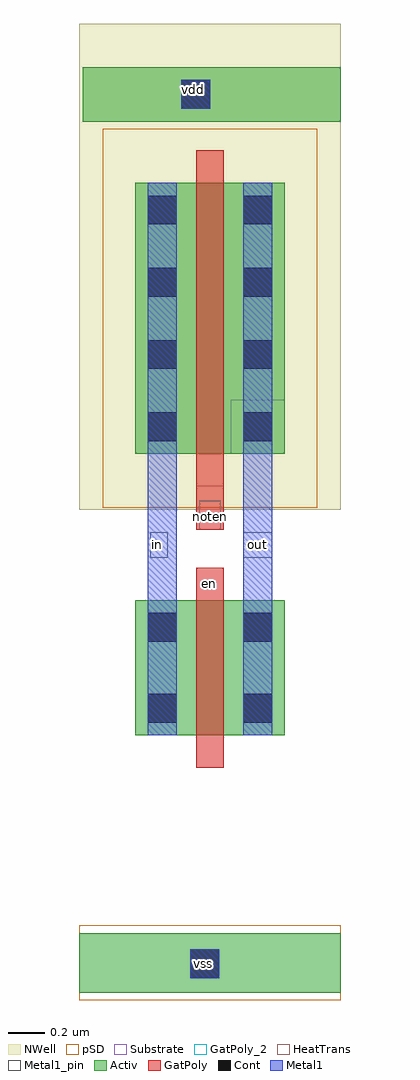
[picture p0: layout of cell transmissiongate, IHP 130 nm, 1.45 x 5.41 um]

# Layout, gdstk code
import gdstk
lib = gdstk.Library(unit=1e-6, precision=5e-09)
def R(c, l, rs):  # rectangles x0, y0, x1, y1
    for r in rs: c.add(gdstk.rectangle(r[:2], r[2:], *l))
def A(c, l, x, y, w, h, nx, ny, dx, dy):  # array of equal rectangles
    R(c, l, [(x+i*dx, y+j*dy, x+i*dx+w, y+j*dy+h) for i in range(nx) for j in range(ny)])
Activ = (1, 0)
GatPoly = (5, 0)
GatPoly_2 = (5, 2)
Cont = (6, 0)
Metal1 = (8, 0)
Metal1_pin = (8, 2)
pSD = (14, 0)
NWell = (31, 0)
Substrate = (40, 0)
HeatTrans = (51, 0)

nmos_5 = lib.new_cell('nmos$5')
R(nmos_5, Activ, [(0,0,0.3,0.3), (0,0,0.83,0.75), (0.53,0,0.83,0.3)])
R(nmos_5, GatPoly, [(0.34,-0.18,0.49,0.93)])
R(nmos_5, GatPoly_2, [(0.34,-0.18,0.49,0.93)])
R(nmos_5, Cont, [(0.07,0.07,0.23,0.23), (0.6,0.07,0.76,0.23), (0.07,0.52,0.23,0.68), (0.6,0.52,0.76,0.68)])
R(nmos_5, Metal1, [(0.07,0,0.23,0.75), (0.6,0,0.76,0.75)])
R(nmos_5, Metal1_pin, [(0.07,0,0.23,0.75), (0.6,0,0.76,0.75)])
R(nmos_5, HeatTrans, [(0.34,-0.18,0.49,0.93)])
nmos_5.add(gdstk.Label('nmos', (0.415,0.375), layer=63, texttype=0))
nmos_5.add(gdstk.Label('nmos', (0.415,0.375), layer=51, texttype=0))

pmos = lib.new_cell('pmos')
R(pmos, Activ, [(0,0,0.3,0.3), (0,0,0.83,1.5), (0.53,0,0.83,0.3)])
R(pmos, GatPoly, [(0.34,-0.18,0.49,1.68), (0.34,-0.18,0.49,1.68)])
A(pmos, Cont, 0.07, 0.07, 0.16, 0.16, 1, 4, 0, 0.4)
A(pmos, Cont, 0.6, 0.07, 0.16, 0.16, 1, 4, 0, 0.4)
R(pmos, Metal1, [(0.07,0,0.23,1.5), (0.07,0,0.23,1.5), (0.6,0,0.76,1.5), (0.6,0,0.76,1.5)])
R(pmos, pSD, [(-0.18,-0.3,1.01,1.8)])
R(pmos, NWell, [(-0.31,-0.31,1.14,1.81)])
R(pmos, Substrate, [(0.53,0,0.83,0.3)])
R(pmos, HeatTrans, [(0.34,-0.18,0.49,1.68)])
pmos.add(gdstk.Label('pmos', (0.415,0.75), layer=63, texttype=0))
pmos.add(gdstk.Label('pmos', (0.415,0.75), layer=51, texttype=0))

transmissiongate = lib.new_cell('transmissiongate')
R(transmissiongate, Activ, [(2.295,-2.62,3.745,-2.29), (2.315,2.205,3.745,2.505)])
R(transmissiongate, GatPoly, [(2.945,-0.055,3.095,0.185)])
R(transmissiongate, GatPoly_2, [(2.98,-0.43,3.09,-0.27), (2.96,-0.055,3.08,0.105)])
R(transmissiongate, Cont, [(2.91,-2.54,3.07,-2.38), (2.86,2.275,3.02,2.435)])
R(transmissiongate, Metal1, [(2.91,-2.54,3.07,-2.38), (2.91,-2.54,3.07,-2.38), (2.675,-0.445,2.835,-0.21), (3.205,-0.445,3.365,-0.21), (2.675,-0.21,2.835,0.365), (3.205,-0.21,3.365,0.365), (2.86,2.275,3.02,2.435)])
R(transmissiongate, Metal1_pin, [(2.91,-2.54,3.07,-2.38), (2.69,-0.21,2.785,-0.07), (3.205,-0.21,3.365,-0.07), (2.86,2.275,3.02,2.435)])
R(transmissiongate, pSD, [(2.295,-2.66,3.745,-2.245)])
R(transmissiongate, NWell, [(2.295,2.175,3.745,2.745)])
transmissiongate.add(gdstk.Reference(nmos_5, (2.605,-1.195)))
transmissiongate.add(gdstk.Reference(pmos, (2.605,0.365)))
transmissiongate.add(gdstk.Label('vdd', (2.93,2.38), layer=8, texttype=2))
transmissiongate.add(gdstk.Label('vss', (2.985,-2.46), layer=8, texttype=2))
transmissiongate.add(gdstk.Label('out', (3.285,-0.14), layer=8, texttype=2))
transmissiongate.add(gdstk.Label('in', (2.73,-0.14), layer=8, texttype=2))
transmissiongate.add(gdstk.Label('en', (3.015,-0.355), layer=5, texttype=2))
transmissiongate.add(gdstk.Label('noten', (3.025,0.02), layer=5, texttype=2))

lib.write_gds('transmissiongate.gds')
